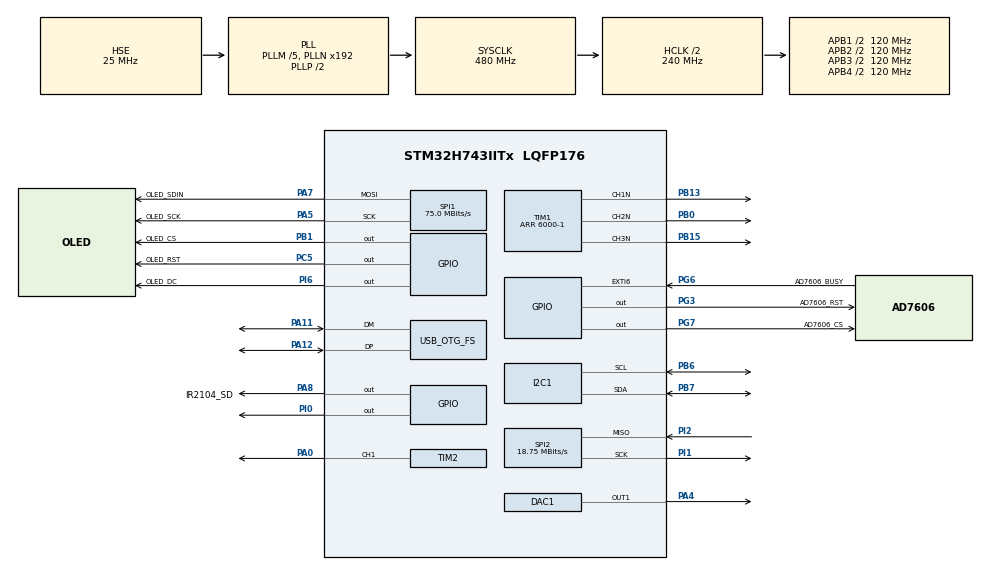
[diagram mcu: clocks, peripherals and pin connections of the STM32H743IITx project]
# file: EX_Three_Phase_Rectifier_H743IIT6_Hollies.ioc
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CORTEX_M7.AccessPermission_S-Cortex_Memory_Protection_Unit_Region1_Settings_S=MPU_REGION_FULL_ACCESS
CORTEX_M7.AccessPermission_Spec=MPU_REGION_FULL_ACCESS
CORTEX_M7.BaseAddress_S-Cortex_Memory_Protection_Unit_Region1_Settings_S=0x20000000
CORTEX_M7.BaseAddress_Spec=0x24000000
CORTEX_M7.CPU_DCache=Enabled
CORTEX_M7.CPU_ICache=Enabled
CORTEX_M7.DisableExec_Spec=MPU_INSTRUCTION_ACCESS_ENABLE
CORTEX_M7.Enable_S-Cortex_Memory_Protection_Unit_Region1_Settings_S=MPU_REGION_ENABLE
CORTEX_M7.IsBufferable_S-Cortex_Memory_Protection_Unit_Region1_Settings_S=MPU_ACCESS_BUFFERABLE
CORTEX_M7.IsBufferable_Spec=MPU_ACCESS_BUFFERABLE
CORTEX_M7.IsCacheable_S-Cortex_Memory_Protection_Unit_Region1_Settings_S=MPU_ACCESS_CACHEABLE
CORTEX_M7.IsCacheable_Spec=MPU_ACCESS_CACHEABLE
CORTEX_M7.IsShareable_Spec=MPU_ACCESS_NOT_SHAREABLE
CORTEX_M7.Size_S-Cortex_Memory_Protection_Unit_Region1_Settings_S=MPU_REGION_SIZE_128KB
CORTEX_M7.Size_Spec=MPU_REGION_SIZE_512KB
CORTEX_M7.SubRegionDisable_Spec=0x0
CORTEX_M7.TypeExtField_S-Cortex_Memory_Protection_Unit_Region1_Settings_S=MPU_TEX_LEVEL1
CORTEX_M7.TypeExtField_Spec=MPU_TEX_LEVEL1
CORTEX_M7.default_mode_Activation=1
DAC1.DAC_Channel-DAC_OUT1=DAC_CHANNEL_1
FREERTOS.Tasks01=stateLED,24,128,StartStateLED,Default,NULL,Dynamic,NULL,NULL;oledShow,24,512,StartOledShow,Default,NULL,Dynamic,NULL,NULL;dcSamp,41,256,StartDcSamp,Default,NULL,Dynamic,NULL,NULL;usartDebug,24,256,StartUsartDebug,Default,NULL,Dynamic,NULL,NULL;acVControl,40,256,StartACVContorl,Default,NULL,Dynamic,NULL,NULL;circuitProtect,40,128,StartCircuitProtect,Default,NULL,Dynamic,NULL,NULL;dcVControl,40,256,StartDCVControl,Default,NULL,Dynamic,NULL,NULL
FREERTOS.configENABLE_FPU=0
I2C1.Timing=0x307075B1
Mcu.Family=STM32H7
Mcu.Name=STM32H743IITx
Mcu.Package=LQFP176
NVIC.EXTI9_5_IRQn=true\:4\:0\:true\:false\:true\:false\:true\:true\:true
NVIC.OTG_FS_IRQn=true\:5\:0\:false\:false\:true\:true\:false\:true\:true
NVIC.PriorityGroup=NVIC_PRIORITYGROUP_4
NVIC.TIM6_DAC_IRQn=true\:5\:0\:false\:false\:true\:false\:false\:true\:true
NVIC.TimeBase=TIM6_DAC_IRQn
NVIC.TimeBaseIP=TIM6
PA0.Signal=S_TIM2_CH1_ETR
PA11.Mode=Device_Only
PA11.Signal=USB_OTG_FS_DM
PA12.Mode=Device_Only
PA12.Signal=USB_OTG_FS_DP
PA13\ (JTMS/SWDIO).Mode=Serial_Wire
PA13\ (JTMS/SWDIO).Signal=DEBUG_JTMS-SWDIO
PA14\ (JTCK/SWCLK).Mode=Serial_Wire
PA14\ (JTCK/SWCLK).Signal=DEBUG_JTCK-SWCLK
PA4.Signal=COMP_DAC11_group
PA5.GPIO_Label=OLED_SCK
PA5.GPIO_Speed=GPIO_SPEED_FREQ_VERY_HIGH
PA5.Mode=TX_Only_Simplex_Unidirect_Master
PA5.Signal=SPI1_SCK
PA7.GPIO_Label=OLED_SDIN
PA7.GPIO_Speed=GPIO_SPEED_FREQ_VERY_HIGH
PA7.Mode=TX_Only_Simplex_Unidirect_Master
PA7.Signal=SPI1_MOSI
PA8.GPIO_Label=IR2104_SD
PA8.GPIO_PuPd=GPIO_PULLDOWN
PA8.GPIO_Speed=GPIO_SPEED_FREQ_VERY_HIGH
PA8.Signal=GPIO_Output
PB0.GPIO_Speed=GPIO_SPEED_FREQ_VERY_HIGH
PB0.Mode=PWM Generation2 CH2N
PB0.Signal=TIM1_CH2N
PB1.GPIO_Label=OLED_CS
PB1.GPIO_Speed=GPIO_SPEED_FREQ_VERY_HIGH
PB1.Signal=GPIO_Output
PB13.GPIO_Speed=GPIO_SPEED_FREQ_VERY_HIGH
PB13.Mode=PWM Generation1 CH1N
PB13.Signal=TIM1_CH1N
PB15.GPIO_Speed=GPIO_SPEED_FREQ_VERY_HIGH
PB15.Mode=PWM Generation3 CH3N
PB15.Signal=TIM1_CH3N
PB6.Mode=I2C
PB6.Signal=I2C1_SCL
PB7.Mode=I2C
PB7.Signal=I2C1_SDA
PC14-OSC32_IN\ (OSC32_IN).Mode=LSE-External-Oscillator
PC14-OSC32_IN\ (OSC32_IN).Signal=RCC_OSC32_IN
PC15-OSC32_OUT\ (OSC32_OUT).Mode=LSE-External-Oscillator
PC15-OSC32_OUT\ (OSC32_OUT).Signal=RCC_OSC32_OUT
PC5.GPIO_Label=OLED_RST
PC5.GPIO_Speed=GPIO_SPEED_FREQ_VERY_HIGH
PC5.Signal=GPIO_Output
PG3.GPIO_Label=AD7606_RST
PG3.GPIO_Speed=GPIO_SPEED_FREQ_VERY_HIGH
PG3.Signal=GPIO_Output
PG6.GPIO_Label=AD7606_BUSY
PG6.GPIO_ModeDefaultEXTI=GPIO_MODE_IT_FALLING
PG6.GPIO_PuPd=GPIO_PULLUP
PG6.Signal=GPXTI6
PG7.GPIO_Label=AD7606_CS
PG7.GPIO_Speed=GPIO_SPEED_FREQ_VERY_HIGH
PG7.Signal=GPIO_Output
PH0-OSC_IN\ (PH0).Mode=HSE-External-Oscillator
PH0-OSC_IN\ (PH0).Signal=RCC_OSC_IN
PH1-OSC_OUT\ (PH1).Mode=HSE-External-Oscillator
PH1-OSC_OUT\ (PH1).Signal=RCC_OSC_OUT
PI0.GPIO_Speed=GPIO_SPEED_FREQ_LOW
PI0.PinState=GPIO_PIN_SET
PI0.Signal=GPIO_Output
PI1.Mode=RX_Only_Simplex_Unidirect_Master
PI1.Signal=SPI2_SCK
PI2.Mode=RX_Only_Simplex_Unidirect_Master
PI2.Signal=SPI2_MISO
PI6.GPIO_Label=OLED_DC
PI6.GPIO_Speed=GPIO_SPEED_FREQ_VERY_HIGH
PI6.Signal=GPIO_Output
ProjectManager.HeapSize=0x4000
ProjectManager.StackSize=0x8000
ProjectManager.TargetToolchain=STM32CubeIDE
RCC.ADCFreq_Value=72000000
RCC.APB1Freq_Value=120000000
RCC.APB2Freq_Value=120000000
RCC.APB3Freq_Value=120000000
RCC.APB4Freq_Value=120000000
RCC.CortexFreq_Value=480000000
RCC.D1PPRE=RCC_APB3_DIV2
RCC.D2PPRE1=RCC_APB1_DIV2
RCC.D2PPRE2=RCC_APB2_DIV2
RCC.D3PPRE=RCC_APB4_DIV2
RCC.DIVM1=5
RCC.DIVM2=25
RCC.DIVM3=25
RCC.DIVN1=192
RCC.DIVN2=504
RCC.DIVN3=300
RCC.DIVP2=7
RCC.DIVQ1=20
RCC.HCLKFreq_Value=240000000
RCC.HPRE=RCC_HCLK_DIV2
RCC.PLLFRACN=0
RCC.PLLSourceVirtual=RCC_PLLSOURCE_HSE
RCC.SPI123CLockSelection=RCC_SPI123CLKSOURCE_PLL3
RCC.SYSCLKFreq_VALUE=480000000
RCC.SYSCLKSource=RCC_SYSCLKSOURCE_PLLCLK
RCC.USBFreq_Value=48000000
SH.COMP_DAC11_group.0=DAC1_OUT1,DAC_OUT1
SH.S_TIM2_CH1_ETR.0=TIM2_CH1,PWM Generation1 CH1
SPI1.CalculateBaudRate=75.0 MBits/s
SPI1.DataSize=SPI_DATASIZE_8BIT
SPI1.Direction=SPI_DIRECTION_2LINES_TXONLY
SPI1.Mode=SPI_MODE_MASTER
SPI1.VirtualType=VM_MASTER
SPI2.BaudRatePrescaler=SPI_BAUDRATEPRESCALER_8
SPI2.CLKPolarity=SPI_POLARITY_HIGH
SPI2.CalculateBaudRate=18.75 MBits/s
SPI2.DataSize=SPI_DATASIZE_16BIT
SPI2.Direction=SPI_DIRECTION_2LINES_RXONLY
SPI2.Mode=SPI_MODE_MASTER
SPI2.VirtualType=VM_MASTER
TIM1.Channel-PWM\ Generation1\ CH1N=TIM_CHANNEL_1
TIM1.Channel-PWM\ Generation2\ CH2N=TIM_CHANNEL_2
TIM1.Channel-PWM\ Generation3\ CH3N=TIM_CHANNEL_3
TIM1.CounterMode=TIM_COUNTERMODE_CENTERALIGNED1
TIM1.OCFastMode_PWM-PWM\ Generation1\ CH1N=TIM_OCFAST_ENABLE
TIM1.OCFastMode_PWM-PWM\ Generation2\ CH2N=TIM_OCFAST_ENABLE
TIM1.OCFastMode_PWM-PWM\ Generation3\ CH3N=TIM_OCFAST_ENABLE
TIM1.Period=6000-1
TIM1.Pulse-PWM\ Generation1\ CH1N=3000-1
TIM1.Pulse-PWM\ Generation2\ CH2N=3000-1
TIM1.Pulse-PWM\ Generation3\ CH3N=0
TIM2.Channel-PWM\ Generation1\ CH1=TIM_CHANNEL_1
TIM2.Period=12000-1
TIM2.Pulse-PWM\ Generation1\ CH1=9000-1
USB_DEVICE.CLASS_NAME_FS=CDC
USB_DEVICE.VirtualMode-CDC_FS=Cdc
USB_DEVICE.VirtualModeFS=Cdc_FS
USB_OTG_FS.VirtualMode=Device_Only
VP_FREERTOS_VS_CMSIS_V2.Mode=CMSIS_V2
VP_MEMORYMAP_VS_MEMORYMAP.Mode=CurAppReg
VP_SYS_VS_tim6.Mode=TIM6
VP_TIM1_VS_ClockSourceINT.Mode=Internal
VP_TIM2_VS_ClockSourceINT.Mode=Internal
VP_USB_DEVICE_VS_USB_DEVICE_CDC_FS.Mode=CDC_FS
board=custom

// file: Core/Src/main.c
/* USER CODE BEGIN Header */
/**
 ******************************************************************************
 * @file           : main.c
 * @brief          : Main program body
 ******************************************************************************
 * @attention
 *
 * Copyright (c) 2024 STMicroelectronics.
 * All rights reserved.
 *
 * This software is licensed under terms that can be found in the LICENSE file
 * in the root directory of this software component.
 * If no LICENSE file comes with this software, it is provided AS-IS.
 *
 ******************************************************************************
 */
/* USER CODE END Header */
#include "main.h"
#include "cmsis_os.h"
#include "dac.h"
#include "i2c.h"
#include "memorymap.h"
#include "spi.h"
#include "tim.h"
#include "usb_device.h"
#include "gpio.h"

void SystemClock_Config(void);
void PeriphCommonClock_Config(void);
static void MPU_Config(void);
void MX_FREERTOS_Init(void);

int main(void)
{

  /* MPU Configuration--------------------------------------------------------*/
  MPU_Config();

  /* Enable the CPU Cache */

  /* Enable I-Cache---------------------------------------------------------*/
  SCB_EnableICache();

  /* Enable D-Cache---------------------------------------------------------*/
  SCB_EnableDCache();

  /* MCU Configuration--------------------------------------------------------*/

  /* Reset of all peripherals, Initializes the Flash interface and the Systick. */
  HAL_Init();

  /* Configure the system clock */
  SystemClock_Config();

  /* Configure the peripherals common clocks */
  PeriphCommonClock_Config();

  /* Initialize all configured peripherals */
  MX_GPIO_Init();
  MX_SPI2_Init();
  MX_TIM2_Init();
  MX_I2C1_Init();
  MX_TIM1_Init();
  MX_DAC1_Init();
  MX_SPI1_Init();
  /* USER CODE BEGIN 2 */
  MX_USB_DEVICE_Init();
  /* USER CODE END 2 */

  /* Init scheduler */
  osKernelInitialize();

  /* Call init function for freertos objects (in cmsis_os2.c) */
  MX_FREERTOS_Init();

  /* Start scheduler */
  osKernelStart();

  /* We should never get here as control is now taken by the scheduler */

  /* Infinite loop */
  while (1)
  {

  }
}

void SystemClock_Config(void)
{
  RCC_OscInitTypeDef RCC_OscInitStruct = {0};
  RCC_ClkInitTypeDef RCC_ClkInitStruct = {0};

  /** Supply configuration update enable
  */
  HAL_PWREx_ConfigSupply(PWR_LDO_SUPPLY);

  /** Configure the main internal regulator output voltage
  */
  __HAL_PWR_VOLTAGESCALING_CONFIG(PWR_REGULATOR_VOLTAGE_SCALE1);

  while(!__HAL_PWR_GET_FLAG(PWR_FLAG_VOSRDY)) {}

  __HAL_RCC_SYSCFG_CLK_ENABLE();
  __HAL_PWR_VOLTAGESCALING_CONFIG(PWR_REGULATOR_VOLTAGE_SCALE0);

  while(!__HAL_PWR_GET_FLAG(PWR_FLAG_VOSRDY)) {}

  /** Initializes the RCC Oscillators according to the specified parameters
  * in the RCC_OscInitTypeDef structure.
  */
  RCC_OscInitStruct.OscillatorType = RCC_OSCILLATORTYPE_HSE;
  RCC_OscInitStruct.HSEState = RCC_HSE_ON;
  RCC_OscInitStruct.PLL.PLLState = RCC_PLL_ON;
  RCC_OscInitStruct.PLL.PLLSource = RCC_PLLSOURCE_HSE;
  RCC_OscInitStruct.PLL.PLLM = 5;
  RCC_OscInitStruct.PLL.PLLN = 192;
  RCC_OscInitStruct.PLL.PLLP = 2;
  RCC_OscInitStruct.PLL.PLLQ = 20;
  RCC_OscInitStruct.PLL.PLLR = 2;
  RCC_OscInitStruct.PLL.PLLRGE = RCC_PLL1VCIRANGE_2;
  RCC_OscInitStruct.PLL.PLLVCOSEL = RCC_PLL1VCOWIDE;
  RCC_OscInitStruct.PLL.PLLFRACN = 0;
  if (HAL_RCC_OscConfig(&RCC_OscInitStruct) != HAL_OK)
  {
    Error_Handler();
  }

  /** Initializes the CPU, AHB and APB buses clocks
  */
  RCC_ClkInitStruct.ClockType = RCC_CLOCKTYPE_HCLK|RCC_CLOCKTYPE_SYSCLK
                              |RCC_CLOCKTYPE_PCLK1|RCC_CLOCKTYPE_PCLK2
                              |RCC_CLOCKTYPE_D3PCLK1|RCC_CLOCKTYPE_D1PCLK1;
  RCC_ClkInitStruct.SYSCLKSource = RCC_SYSCLKSOURCE_PLLCLK;
  RCC_ClkInitStruct.SYSCLKDivider = RCC_SYSCLK_DIV1;
  RCC_ClkInitStruct.AHBCLKDivider = RCC_HCLK_DIV2;
  RCC_ClkInitStruct.APB3CLKDivider = RCC_APB3_DIV2;
  RCC_ClkInitStruct.APB1CLKDivider = RCC_APB1_DIV2;
  RCC_ClkInitStruct.APB2CLKDivider = RCC_APB2_DIV2;
  RCC_ClkInitStruct.APB4CLKDivider = RCC_APB4_DIV2;

  if (HAL_RCC_ClockConfig(&RCC_ClkInitStruct, FLASH_LATENCY_4) != HAL_OK)
  {
    Error_Handler();
  }
}

void PeriphCommonClock_Config(void)
{
  RCC_PeriphCLKInitTypeDef PeriphClkInitStruct = {0};

  /** Initializes the peripherals clock
  */
  PeriphClkInitStruct.PeriphClockSelection = RCC_PERIPHCLK_SPI2|RCC_PERIPHCLK_SPI1;
  PeriphClkInitStruct.PLL3.PLL3M = 25;
  PeriphClkInitStruct.PLL3.PLL3N = 300;
  PeriphClkInitStruct.PLL3.PLL3P = 2;
  PeriphClkInitStruct.PLL3.PLL3Q = 2;
  PeriphClkInitStruct.PLL3.PLL3R = 2;
  PeriphClkInitStruct.PLL3.PLL3RGE = RCC_PLL3VCIRANGE_0;
  PeriphClkInitStruct.PLL3.PLL3VCOSEL = RCC_PLL3VCOWIDE;
  PeriphClkInitStruct.PLL3.PLL3FRACN = 0;
  PeriphClkInitStruct.Spi123ClockSelection = RCC_SPI123CLKSOURCE_PLL3;
  if (HAL_RCCEx_PeriphCLKConfig(&PeriphClkInitStruct) != HAL_OK)
  {
    Error_Handler();
  }
}

 /* MPU Configuration */

void MPU_Config(void)
{
  MPU_Region_InitTypeDef MPU_InitStruct = {0};

  /* Disables the MPU */
  HAL_MPU_Disable();

  /** Initializes and configures the Region and the memory to be protected
  */
  MPU_InitStruct.Enable = MPU_REGION_ENABLE;
  MPU_InitStruct.Number = MPU_REGION_NUMBER0;
  MPU_InitStruct.BaseAddress = 0x24000000;
  MPU_InitStruct.Size = MPU_REGION_SIZE_512KB;
  MPU_InitStruct.SubRegionDisable = 0x0;
  MPU_InitStruct.TypeExtField = MPU_TEX_LEVEL1;
  MPU_InitStruct.AccessPermission = MPU_REGION_FULL_ACCESS;
  MPU_InitStruct.DisableExec = MPU_INSTRUCTION_ACCESS_ENABLE;
  MPU_InitStruct.IsShareable = MPU_ACCESS_NOT_SHAREABLE;
  MPU_InitStruct.IsCacheable = MPU_ACCESS_CACHEABLE;
  MPU_InitStruct.IsBufferable = MPU_ACCESS_BUFFERABLE;

  HAL_MPU_ConfigRegion(&MPU_InitStruct);

  /** Initializes and configures the Region and the memory to be protected
  */
  MPU_InitStruct.Number = MPU_REGION_NUMBER1;
  MPU_InitStruct.BaseAddress = 0x20000000;
  MPU_InitStruct.Size = MPU_REGION_SIZE_128KB;

  HAL_MPU_ConfigRegion(&MPU_InitStruct);
  /* Enables the MPU */
  HAL_MPU_Enable(MPU_PRIVILEGED_DEFAULT);

}

void HAL_TIM_PeriodElapsedCallback(TIM_HandleTypeDef *htim)
{
  if (htim->Instance == TIM6) {
    HAL_IncTick();
  }
}

void Error_Handler(void)
{
  __disable_irq();
  while (1)
  {
  }
}

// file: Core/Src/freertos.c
/* USER CODE BEGIN Header */
/**
 ******************************************************************************
 * File Name          : freertos.c
 * Description        : Code for freertos applications
 ******************************************************************************
 * @attention
 *
 * Copyright (c) 2024 STMicroelectronics.
 * All rights reserved.
 *
 * This software is licensed under terms that can be found in the LICENSE file
 * in the root directory of this software component.
 * If no LICENSE file comes with this software, it is provided AS-IS.
 *
 ******************************************************************************
 */
/* USER CODE END Header */

#include "FreeRTOS.h"
#include "task.h"
#include "main.h"
#include "cmsis_os.h"

/* USER CODE BEGIN Includes */
// #include "oled.h"
#include "three_phrase_pll.h"
#include "user_global.h"
#include "ad7606.h"
#include "ina228.h"
#include "pid.h"
#include "oled.h"
#include "stdio.h"
#include "spi.h"
#include "tim.h"
#include "gpio.h"
#include "arm_math.h"
#include "dac.h"
#include "usb_device.h"
#include "usbd_cdc_if.h"
#include "string.h"
/* USER CODE END Includes */

/* USER CODE BEGIN PD */
#define USER_DEBUG 0
/* USER CODE END PD */

/* Definitions for stateLED */
osThreadId_t stateLEDHandle;
const osThreadAttr_t stateLED_attributes = {
    .name = "stateLED",
    .stack_size = 128 * 4,
    .priority = (osPriority_t)osPriorityNormal,
};
/* Definitions for oledShow */
osThreadId_t oledShowHandle;
const osThreadAttr_t oledShow_attributes = {
    .name = "oledShow",
    .stack_size = 512 * 4,
    .priority = (osPriority_t)osPriorityNormal,
};
/* Definitions for dcSamp */
osThreadId_t dcSampHandle;
const osThreadAttr_t dcSamp_attributes = {
    .name = "dcSamp",
    .stack_size = 256 * 4,
    .priority = (osPriority_t)osPriorityHigh1,
};
/* Definitions for usartDebug */
osThreadId_t usartDebugHandle;
const osThreadAttr_t usartDebug_attributes = {
    .name = "usartDebug",
    .stack_size = 256 * 4,
    .priority = (osPriority_t)osPriorityNormal,
};
/* Definitions for acVControl */
osThreadId_t acVControlHandle;
const osThreadAttr_t acVControl_attributes = {
    .name = "acVControl",
    .stack_size = 256 * 4,
    .priority = (osPriority_t)osPriorityHigh,
};
/* Definitions for circuitProtect */
osThreadId_t circuitProtectHandle;
const osThreadAttr_t circuitProtect_attributes = {
    .name = "circuitProtect",
    .stack_size = 128 * 4,
    .priority = (osPriority_t)osPriorityHigh,
};
/* Definitions for dcVControl */
osThreadId_t dcVControlHandle;
const osThreadAttr_t dcVControl_attributes = {
    .name = "dcVControl",
    .stack_size = 256 * 4,
    .priority = (osPriority_t)osPriorityHigh,
};

/* USER CODE BEGIN FunctionPrototypes */
static void appOLEDShow();
#if USER_DEBUG
static void appTaskStackShow();
#endif
#if !Rectifier_Or_Inverter
static void appACVControl();
#endif
/* USER CODE END FunctionPrototypes */

void StartStateLED(void *argument);
void StartOledShow(void *argument);
void StartDcSamp(void *argument);
void StartUsartDebug(void *argument);
void StartACVContorl(void *argument);
void StartCircuitProtect(void *argument);
void StartDCVControl(void *argument);

extern void MX_USB_DEVICE_Init(void);
void MX_FREERTOS_Init(void); /* (MISRA C 2004 rule 8.1) */

void MX_FREERTOS_Init(void)
{
  /* USER CODE BEGIN Init */
  ad7606_Init();
  pll_Init_V(&signal_V, 50, 20000);
  pll_Init_I(&signal_I, 50, 20000);
  HAL_TIMEx_PWMN_Start(&htim1, TIM_CHANNEL_1);
  HAL_TIMEx_PWMN_Start(&htim1, TIM_CHANNEL_2);
  HAL_TIMEx_PWMN_Start(&htim1, TIM_CHANNEL_3);
  HAL_DAC_Start(&hdac1, DAC_CHANNEL_1);
  ad7606_Start(&htim2, TIM_CHANNEL_1);
  /* USER CODE END Init */

  /* Create the thread(s) */
  /* creation of stateLED */
  stateLEDHandle = osThreadNew(StartStateLED, NULL, &stateLED_attributes);

  /* creation of oledShow */
  oledShowHandle = osThreadNew(StartOledShow, NULL, &oledShow_attributes);

  /* creation of dcSamp */
  dcSampHandle = osThreadNew(StartDcSamp, NULL, &dcSamp_attributes);

  /* creation of usartDebug */
  usartDebugHandle = osThreadNew(StartUsartDebug, NULL, &usartDebug_attributes);

  /* creation of acVControl */
  acVControlHandle = osThreadNew(StartACVContorl, NULL, &acVControl_attributes);

  /* creation of circuitProtect */
  circuitProtectHandle = osThreadNew(StartCircuitProtect, NULL, &circuitProtect_attributes);

  /* creation of dcVControl */
  dcVControlHandle = osThreadNew(StartDCVControl, NULL, &dcVControl_attributes);

}

void StartStateLED(void *argument)
{
  /* init code for USB_DEVICE */
  MX_USB_DEVICE_Init();
  /* USER CODE BEGIN StartStateLED */
  /* Infinite loop */
  for (;;)
  {
    switch (runState)
    {
    case START: // 启动状态
      HAL_GPIO_WritePin(GPIOI, GPIO_PIN_0, GPIO_PIN_SET);
      break;
    case RUN: // 正常运行
      HAL_GPIO_TogglePin(GPIOI, GPIO_PIN_0);
      osDelay(100);
      HAL_GPIO_TogglePin(GPIOI, GPIO_PIN_0);
      osDelay(200);
      HAL_GPIO_TogglePin(GPIOI, GPIO_PIN_0);
      osDelay(100);
      HAL_GPIO_TogglePin(GPIOI, GPIO_PIN_0);
      osDelay(200);
      HAL_GPIO_WritePin(GPIOI, GPIO_PIN_0, GPIO_PIN_RESET);
      osDelay(1000);
      break;
    case FAULT: // 保护状态
      HAL_GPIO_TogglePin(GPIOI, GPIO_PIN_0);
      osDelay(100);
      break;
    default:
      break;
    }
  }
  /* USER CODE END StartStateLED */
}

void StartOledShow(void *argument)
{
  /* USER CODE BEGIN StartOledShow */
  OLED_Init();
  /* Infinite loop */
  for (;;)
  {
    appOLEDShow();
    osDelay(100);
  }
  /* USER CODE END StartOledShow */
}

void StartDcSamp(void *argument)
{
  /* USER CODE BEGIN StartDcSamp */
  INA228_config(INA228_0);
  /* Infinite loop */
  for (;;)
  {
    U = INA228_getVBUS_V(INA228_0);
    I = INA228_getCURRENT_A(INA228_0);
    osDelay(10);
  }
  /* USER CODE END StartDcSamp */
}

void StartUsartDebug(void *argument)
{
  /* USER CODE BEGIN StartUsartDebug */
  /* Infinite loop */
  for (;;)
  {
#if USER_DEBUG
    appTaskStackShow();
#else
    vTaskDelete(NULL);
#endif
    osDelay(100);
  }
  /* USER CODE END StartUsartDebug */
}

void StartACVContorl(void *argument)
{
  /* USER CODE BEGIN StartACVContorl */
  /* Infinite loop */
  for (;;)
  {
#if Rectifier_Or_Inverter
    vTaskDelete(NULL);
#else
    appACVControl();
#endif
    osDelay(25);
  }
  /* USER CODE END StartACVContorl */
}

void StartCircuitProtect(void *argument)
{
  /* USER CODE BEGIN StartCircuitProtect */
  /* Infinite loop */
  for (;;)
  {
    if (U > protection_Udc || I > protection_Idc ||
        signal_V->basic->rms_a > protection_Uac || signal_I->basic->rms_a > protection_Iac ||
        signal_V->basic->rms_b > protection_Uac || signal_I->basic->rms_b > protection_Iac ||
        signal_V->basic->rms_c > protection_Uac || signal_I->basic->rms_c > protection_Iac)
    {
      runState = FAULT;
      osDelay(1000);
      HAL_GPIO_WritePin(IR2104_SD_GPIO_Port, IR2104_SD_Pin, GPIO_PIN_RESET);
    }
    else if (runState == START &&
             runState != FAULT &&
             fabs(signal_V->basic->park_q) < 0.02f &&
             signal_V->basic->rms_a > 5.f &&
             signal_I->basic->rms_a > 0.5f)
    {
      osDelay(1000); // 延迟时间是否合适需根据具体情况调整
      // 防止上电瞬间误判
      if (runState == START &&
          runState != FAULT &&
          fabs(signal_V->basic->park_q) < 0.02f &&
          signal_V->basic->rms_a > 5.f &&
          signal_I->basic->rms_a > 0.5f)
      {
        runState = RUN;
        HAL_GPIO_WritePin(IR2104_SD_GPIO_Port, IR2104_SD_Pin, GPIO_PIN_SET);
      }
    }
    osDelay(10);
  }
  /* USER CODE END StartCircuitProtect */
}

void StartDCVControl(void *argument)
{
  /* USER CODE BEGIN StartDCVControl */
  static PID pidDCV;
  pid_Init(&pidDCV, 0.1f, 0.01f, 0, 2.5f, 0.5f);
  /* Infinite loop */
  for (;;)
  {
#if !DC_V_Ctrl
    vTaskDelete(NULL);
#else
    pid(&pidDCV, Utarget, U);
    Iref = pidDCV.out;
#endif
    osDelay(20);
  }
  /* USER CODE END StartDCVControl */
}

/* USER CODE BEGIN Application */

/**
 * @brief OLED显示
 */
static void appOLEDShow()
{
  static uint8_t text[32] = {0};
  // 显示交流电压电流有效值
  sprintf((char *)text, "Ua: %5.2f Ub: %5.2f", signal_V->basic->rms_a, signal_V->basic->rms_b);
  OLED_ShowString(0, 0, text, 12);
  sprintf((char *)text, "Uc: %5.2f Ia: %5.2f", signal_V->basic->rms_c, signal_I->basic->rms_a);
  OLED_ShowString(0, 12, text, 12);
  sprintf((char *)text, "Ib: %5.2f Ic: %5.2f", signal_I->basic->rms_b, signal_I->basic->rms_c);
  // 显示直流电压电流
  OLED_ShowString(0, 24, text, 12);
  sprintf((char *)text, "U: %5.2f I: %5.2f", U, I);
  OLED_ShowString(0, 36, text, 12);
  // 计算效率
  float n = (signal_V->basic->rms_a * signal_I->basic->rms_a + signal_V->basic->rms_b * signal_I->basic->rms_b + signal_V->basic->rms_c * signal_I->basic->rms_c) / fabsf(U * I) * 100.f;
  n = (n > 100.f) ? 100.f : ((n < 0.f) ? 0.f : n);
  // 显示当前运行状态
  const char *stateText;
  switch (runState)
  {
  case START:
    stateText = "START";
    break;
  case RUN:
    stateText = "RUN";
    break;
  case FAULT:
    stateText = "FAULT";
    break;
  default:
    stateText = "UNKNOWN";
    break;
  }
  sprintf((char *)text, "n: %5.2f%% %s", n, stateText);
  OLED_ShowString(0, 48, text, 12);
  OLED_Refresh();
}

#if USER_DEBUG
/**
 * @brief 任务剩余堆栈输出
 */
static void appTaskStackShow()
{
  osThreadId_t currentTaskId[] = {stateLEDHandle, oledShowHandle, dcSampHandle, usartDebugHandle, acVControlHandle, circuitProtectHandle};
  osThreadAttr_t currentTaskAttr[] = {stateLED_attributes, oledShow_attributes, dcSamp_attributes, usartDebug_attributes, acVControl_attributes, circuitProtect_attributes};
  static int i = 0;

  static uint8_t text[32] = {0};
  sprintf((char *)text, "%d.%-10s: %4ld / %4ld \r\n", i, pcTaskGetTaskName(currentTaskId[i]), uxTaskGetStackHighWaterMark(currentTaskId[i]), currentTaskAttr[i].stack_size);
  CDC_Transmit_FS(text, 32);
  memset(text, 0, 32);
  if (++i >= sizeof(currentTaskId) / sizeof(currentTaskId[0]))
  {
    i = 0;
  }
}
#endif

#if !Rectifier_Or_Inverter
/**
 * @brief 交流逆变电压控制
 */
static void appACVControl()
{
  static PID pidACV;
  pid_Init(&pidACV, 0.01f, 0.1f, 0, 1.f, 0.f);
  pid(&pidACV, 5.f, signal_V->basic->rms_a);
  M = pidACV.out;
}
#endif

/* USER CODE END Application */
